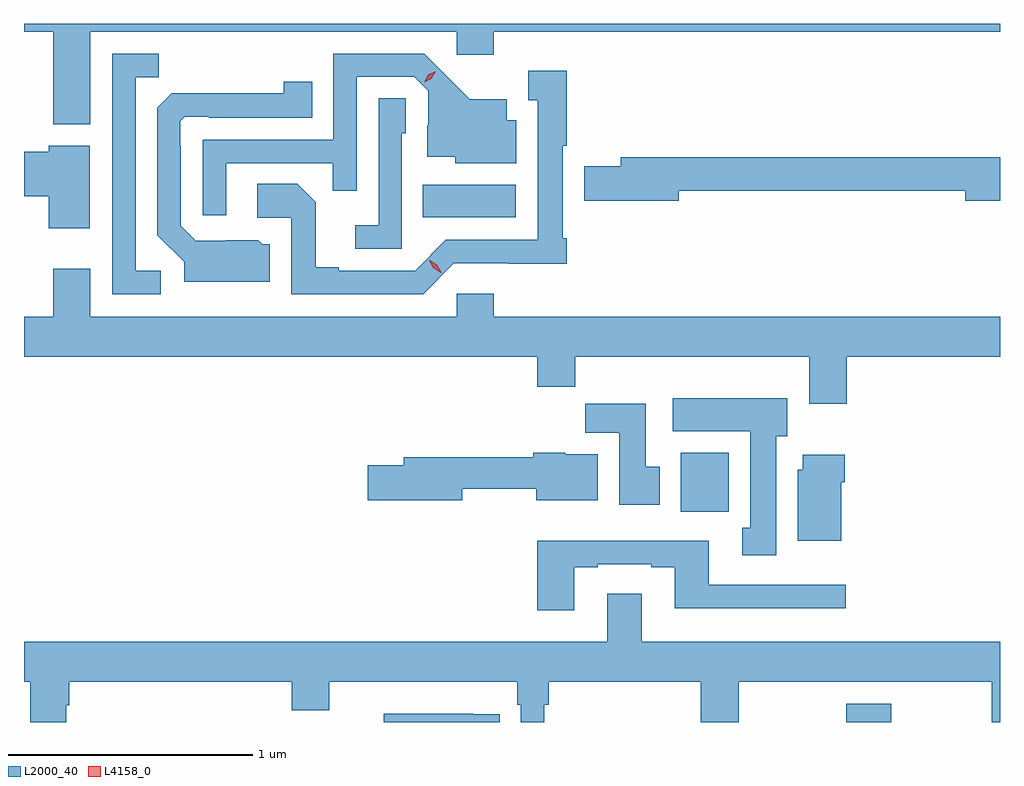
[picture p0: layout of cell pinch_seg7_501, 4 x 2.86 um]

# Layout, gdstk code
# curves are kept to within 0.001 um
import gdstk
lib = gdstk.Library(unit=1e-6, precision=1e-09)
def R(c, l, rs):  # rectangles x0, y0, x1, y1
    for r in rs: c.add(gdstk.rectangle(r[:2], r[2:], *l))
def P(c, l, *ps):  # polygons
    for p in ps: c.add(gdstk.Polygon(p, *l))
L2000_40 = (2000, 40)
L4158_0 = (4158, 0)

pinch_seg7_501 = lib.new_cell('pinch_seg7_501')
R(pinch_seg7_501, L2000_40, [(123.785,1079.037,123.97,1079.113), (123.107,1079.9,123.304,1080.142), (122.05,1081.106,122.431,1081.24)])
P(pinch_seg7_501, L2000_40, [(120.688,1081.868),(122.19,1081.868),(122.19,1081.773),(122.342,1081.773),(122.342,1081.868),(124.416,1081.868),(124.416,1081.9),(120.416,1081.9),(120.416,1081.868),(120.536,1081.868),(120.536,1081.488),(120.688,1081.488)],
  [(120.976,1080.888),(120.873,1080.888),(120.873,1081.681),(120.969,1081.681),(120.969,1081.776),(120.777,1081.776),(120.777,1080.792),(120.976,1080.792)],
  [(121.245,1081.329),(121.681,1081.329),(121.681,1081.216),(121.779,1081.216),(121.779,1081.683),(122.016,1081.683),(122.073,1081.626),(122.073,1081.484),(122.069,1081.484),(122.069,1081.355),(122.184,1081.355),(122.184,1081.328),(122.434,1081.328),(122.434,1081.504),(122.395,1081.504),(122.395,1081.591),(122.243,1081.591),(122.056,1081.776),(121.683,1081.776),(121.683,1081.425),(121.149,1081.425),(121.149,1081.116),(121.245,1081.116)],
  [(122.178,1080.918),(122.641,1080.917),(122.641,1081.021),(122.623,1081.021),(122.623,1081.399),(122.641,1081.399),(122.641,1081.708),(122.483,1081.708),(122.483,1081.587),(122.522,1081.587),(122.522,1081.014),(122.145,1081.014),(122.019,1080.888),(121.705,1080.888),(121.705,1080.901),(121.611,1080.901),(121.611,1081.168),(121.535,1081.244),(121.371,1081.244),(121.371,1081.104),(121.512,1081.104),(121.512,1080.792),(122.052,1080.792)],
  [(121.423,1080.996),(121.392,1080.996),(121.376,1081.012),(121.119,1081.011),(121.059,1081.071),(121.059,1081.4),(121.056,1081.4),(121.056,1081.5),(121.074,1081.518),(121.174,1081.518),(121.174,1081.515),(121.598,1081.515),(121.598,1081.663),(121.48,1081.663),(121.48,1081.616),(121.022,1081.615),(120.963,1081.556),(120.963,1081.034),(121.073,1080.924),(121.073,1080.842),(121.423,1080.842)],
  [(121.965,1081.452),(121.98,1081.452),(121.98,1081.595),(121.869,1081.595),(121.869,1081.075),(121.773,1081.075),(121.773,1080.978),(121.965,1080.978)],
  [(120.685,1081.399),(120.518,1081.399),(120.518,1081.376),(120.416,1081.376),(120.416,1081.193),(120.518,1081.193),(120.518,1081.062),(120.685,1081.062)],
  [(123.1,1081.216),(124.274,1081.216),(124.274,1081.174),(124.416,1081.174),(124.416,1081.352),(122.861,1081.352),(122.861,1081.316),(122.712,1081.316),(122.712,1081.174),(123.1,1081.174)],
  [(123.788,1080.536),(124.416,1080.536),(124.416,1080.7),(122.342,1080.7),(122.342,1080.793),(122.19,1080.793),(122.19,1080.7),(120.688,1080.7),(120.688,1080.895),(120.536,1080.895),(120.536,1080.7),(120.416,1080.7),(120.416,1080.536),(122.519,1080.536),(122.519,1080.412),(122.675,1080.412),(122.675,1080.536),(123.635,1080.536),(123.635,1080.342),(123.788,1080.342)],
  [(123.499,1080.21),(123.544,1080.21),(123.544,1080.364),(123.075,1080.364),(123.075,1080.23),(123.392,1080.23),(123.392,1079.834),(123.359,1079.834),(123.359,1079.721),(123.499,1079.721)],
  [(123.022,1080.084),(122.965,1080.084),(122.965,1080.343),(122.716,1080.343),(122.716,1080.224),(122.855,1080.224),(122.855,1079.928),(123.022,1079.928)],
  [(122.212,1079.995),(122.516,1079.995),(122.516,1079.948),(122.767,1079.948),(122.767,1080.136),(122.634,1080.136),(122.634,1080.142),(122.504,1080.142),(122.504,1080.124),(121.973,1080.124),(121.973,1080.09),(121.824,1080.09),(121.824,1079.948),(122.212,1079.948)],
  [(123.766,1080.02),(123.779,1080.02),(123.779,1080.133),(123.608,1080.133),(123.608,1080.072),(123.587,1080.072),(123.587,1079.78),(123.766,1079.78)],
  [(122.671,1079.673),(122.767,1079.673),(122.767,1079.685),(122.987,1079.685),(122.987,1079.673),(123.083,1079.673),(123.083,1079.504),(123.784,1079.504),(123.784,1079.601),(123.223,1079.601),(123.223,1079.782),(122.519,1079.782),(122.519,1079.496),(122.671,1079.496)],
  [(120.589,1079.106),(120.602,1079.106),(120.602,1079.204),(121.514,1079.204),(121.514,1079.087),(121.666,1079.087),(121.666,1079.204),(122.438,1079.204),(122.438,1079.108),(122.451,1079.108),(122.451,1079.037),(122.548,1079.037),(122.548,1079.108),(122.567,1079.108),(122.567,1079.204),(123.19,1079.204),(123.19,1079.037),(123.345,1079.037),(123.345,1079.204),(124.382,1079.204),(124.382,1079.037),(124.416,1079.037),(124.416,1079.368),(122.947,1079.368),(122.947,1079.563),(122.807,1079.563),(122.807,1079.368),(120.416,1079.368),(120.416,1079.204),(120.442,1079.204),(120.442,1079.037),(120.589,1079.037)],
  [(122.366,1079.07),(122.258,1079.07),(122.258,1079.071),(121.89,1079.071),(121.89,1079.037),(122.366,1079.037)])
P(pinch_seg7_501, L4158_0, [(122.125,1080.88),(122.094,1080.899),(122.076,1080.931),(122.076,1080.932),(122.076,1080.932),(122.108,1080.913),(122.126,1080.881),(122.126,1080.88)],
  [(122.056,1081.66),(122.056,1081.66),(122.073,1081.69),(122.103,1081.705),(122.103,1081.705),(122.103,1081.705),(122.086,1081.675),(122.056,1081.66)])

lib.write_gds('pinch_seg7_501.gds')
